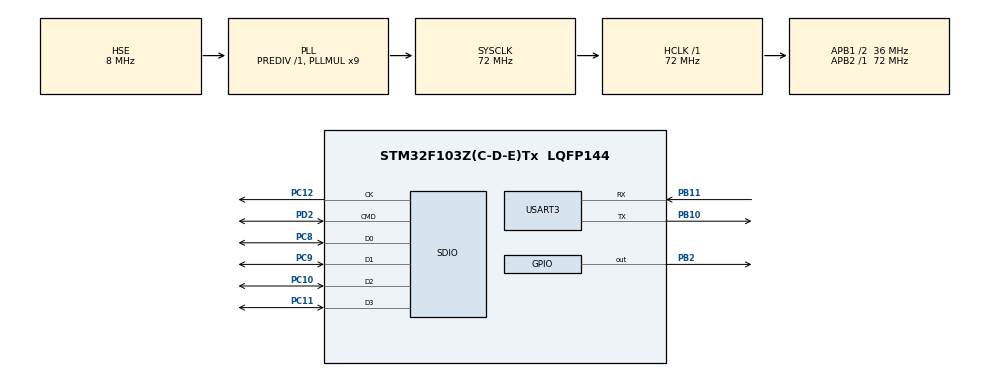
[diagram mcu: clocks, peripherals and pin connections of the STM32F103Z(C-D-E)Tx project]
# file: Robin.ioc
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Mcu.Family=STM32F1
Mcu.Name=STM32F103Z(C-D-E)Tx
Mcu.Package=LQFP144
NVIC.PriorityGroup=NVIC_PRIORITYGROUP_4
OSC_IN.Mode=HSE-External-Oscillator
OSC_IN.Signal=RCC_OSC_IN
OSC_OUT.Mode=HSE-External-Oscillator
OSC_OUT.Signal=RCC_OSC_OUT
PA13.Mode=Trace_Asynchronous_SW
PA13.Signal=SYS_JTMS-SWDIO
PA14.Mode=Trace_Asynchronous_SW
PA14.Signal=SYS_JTCK-SWCLK
PB10.Mode=Asynchronous
PB10.Signal=USART3_TX
PB11.Mode=Asynchronous
PB11.Signal=USART3_RX
PB2.GPIO_Speed=GPIO_SPEED_FREQ_HIGH
PB2.PinState=GPIO_PIN_SET
PB2.Signal=GPIO_Output
PB3.Mode=Trace_Asynchronous_SW
PB3.Signal=SYS_JTDO-TRACESWO
PC10.Mode=SD_4_bits_Wide_bus
PC10.Signal=SDIO_D2
PC11.Mode=SD_4_bits_Wide_bus
PC11.Signal=SDIO_D3
PC12.Mode=SD_4_bits_Wide_bus
PC12.Signal=SDIO_CK
PC8.Mode=SD_4_bits_Wide_bus
PC8.Signal=SDIO_D0
PC9.Mode=SD_4_bits_Wide_bus
PC9.Signal=SDIO_D1
PD2.Mode=SD_4_bits_Wide_bus
PD2.Signal=SDIO_CMD
ProjectManager.HeapSize=0x200
ProjectManager.StackSize=0x400
ProjectManager.TargetToolchain=Makefile
RCC.AHBFreq_Value=72000000
RCC.APB1CLKDivider=RCC_HCLK_DIV2
RCC.APB1Freq_Value=36000000
RCC.APB1TimFreq_Value=72000000
RCC.APB2Freq_Value=72000000
RCC.APB2TimFreq_Value=72000000
RCC.HCLKFreq_Value=72000000
RCC.PLLMUL=RCC_PLL_MUL9
RCC.PLLSourceVirtual=RCC_PLLSOURCE_HSE
RCC.SYSCLKFreq_VALUE=72000000
RCC.SYSCLKSource=RCC_SYSCLKSOURCE_PLLCLK
RCC.USBFreq_Value=48000000
RCC.USBPrescaler=RCC_USBCLKSOURCE_PLL_DIV1_5
SDIO.ClockDiv=2
USART3.VirtualMode=VM_ASYNC
VP_FATFS_VS_SDIO.Mode=SDIO
board=Robin

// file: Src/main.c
/**
  ******************************************************************************
  * @file           : main.c
  * @brief          : Main program body
  ******************************************************************************
  * This notice applies to any and all portions of this file
  * that are not between comment pairs USER CODE BEGIN and
  * USER CODE END. Other portions of this file, whether
  * inserted by the user or by software development tools
  * are owned by their respective copyright owners.
  *
  * Copyright (c) 2018 STMicroelectronics International N.V.
  * All rights reserved.
  *
  * Redistribution and use in source and binary forms, with or without
  * modification, are permitted, provided that the following conditions are met:
  *
  * 1. Redistribution of source code must retain the above copyright notice,
  *    this list of conditions and the following disclaimer.
  * 2. Redistributions in binary form must reproduce the above copyright notice,
  *    this list of conditions and the following disclaimer in the documentation
  *    and/or other materials provided with the distribution.
  * 3. Neither the name of STMicroelectronics nor the names of other
  *    contributors to this software may be used to endorse or promote products
  *    derived from this software without specific written permission.
  * 4. This software, including modifications and/or derivative works of this
  *    software, must execute solely and exclusively on microcontroller or
  *    microprocessor devices manufactured by or for STMicroelectronics.
  * 5. Redistribution and use of this software other than as permitted under
  *    this license is void and will automatically terminate your rights under
  *    this license.
  *
  * THIS SOFTWARE IS PROVIDED BY STMICROELECTRONICS AND CONTRIBUTORS "AS IS"
  * AND ANY EXPRESS, IMPLIED OR STATUTORY WARRANTIES, INCLUDING, BUT NOT
  * LIMITED TO, THE IMPLIED WARRANTIES OF MERCHANTABILITY, FITNESS FOR A
  * PARTICULAR PURPOSE AND NON-INFRINGEMENT OF THIRD PARTY INTELLECTUAL PROPERTY
  * RIGHTS ARE DISCLAIMED TO THE FULLEST EXTENT PERMITTED BY LAW. IN NO EVENT
  * SHALL STMICROELECTRONICS OR CONTRIBUTORS BE LIABLE FOR ANY DIRECT, INDIRECT,
  * INCIDENTAL, SPECIAL, EXEMPLARY, OR CONSEQUENTIAL DAMAGES (INCLUDING, BUT NOT
  * LIMITED TO, PROCUREMENT OF SUBSTITUTE GOODS OR SERVICES; LOSS OF USE, DATA,
  * OR PROFITS; OR BUSINESS INTERRUPTION) HOWEVER CAUSED AND ON ANY THEORY OF
  * LIABILITY, WHETHER IN CONTRACT, STRICT LIABILITY, OR TORT (INCLUDING
  * NEGLIGENCE OR OTHERWISE) ARISING IN ANY WAY OUT OF THE USE OF THIS SOFTWARE,
  * EVEN IF ADVISED OF THE POSSIBILITY OF SUCH DAMAGE.
  *
  ******************************************************************************
  */
#include "main.h"
#include "stm32f1xx_hal.h"
#include "fatfs.h"

/* USER CODE BEGIN Includes */
#include  <errno.h>
#include  <string.h>
#include  <sys/unistd.h> // STDOUT_FILENO, STDERR_FILENO
/* USER CODE END Includes */

SD_HandleTypeDef hsd;

UART_HandleTypeDef huart3;

/* USER CODE BEGIN PV */
/* Private variables ---------------------------------------------------------*/
#define BOOTLOADER_SIZE 0x7000
/* USER CODE END PV */

void SystemClock_Config(void);
static void MX_GPIO_Init(void);
static void MX_USART3_UART_Init(void);
static void MX_SDIO_SD_Init(void);

/* USER CODE BEGIN PFP */
/* Private function prototypes -----------------------------------------------*/

/* USER CODE END PFP */

/* USER CODE BEGIN 0 */
int _write(int file, char *data, int length) {
   if ((file != STDOUT_FILENO) && (file != STDERR_FILENO)) {
      errno = EBADF;
      return -1;
   }
   return HAL_UART_Transmit(&huart3, (uint8_t*)data, length, 1000) == HAL_OK ? length : 0;
}
/* USER CODE END 0 */

int main(void)
{

  /* MCU Configuration----------------------------------------------------------*/

  /* Reset of all peripherals, Initializes the Flash interface and the Systick. */
  HAL_Init();

  /* Configure the system clock */
  SystemClock_Config();

  /* Initialize all configured peripherals */
  MX_GPIO_Init();
  MX_USART3_UART_Init();
  MX_SDIO_SD_Init();
  MX_FATFS_Init();
  /* USER CODE BEGIN 2 */

  printf("\nSTM32F103ZET6\n");

  FRESULT result;
  DIR Directory;
  FILINFO FileInfo;

  if(f_mount(&SDFatFS, (TCHAR const*) SDPath, 0) != FR_OK) {
	  printf("Failed to mount SD Card\n");
  } else {
	  if ((result = f_opendir(&Directory, "/")) != FR_OK) {
		  printf("Failed to open root directory: %d\n", result);
	  } else {
		  if (f_stat("BOOTLOAD.BIN", &FileInfo) == FR_OK) {
			  printf("Bootload.bin already exists (%ld)\n", FileInfo.fsize);
		  } else {
			  if (f_open(&SDFile, "BOOTLOAD.BIN", FA_CREATE_ALWAYS | FA_WRITE) == FR_OK) {

				  unsigned int length;
				  uint8_t buffer[FLASH_PAGE_SIZE];
				  uint32_t address;

				  for (address = 0; address < BOOTLOADER_SIZE; address += FLASH_PAGE_SIZE) {
					  memcpy((void *) buffer, (void *) (FLASH_BASE + address), 2048);
				  	  if ((result = f_write(&SDFile, (void *) buffer, FLASH_PAGE_SIZE, &length)) != FR_OK) {
					  	  printf("Failed to write data to Bootload.bin: %d\n", result);
					  	  break;
				  	  }
				  }
				  f_close(&SDFile);
				  if (f_stat("BOOTLOAD.BIN", &FileInfo) == FR_OK) {
					  printf("Bootload.bin created (%ld)\n", FileInfo.fsize);
				  }
			  } else {
				  printf("Failed to create Bootload.bin\n");
			  }
		  }
	  }
  }
  /* USER CODE END 2 */

  /* Infinite loop */
  while (1)
  {

  /* USER CODE BEGIN 3 */
	  HAL_Delay(500);
	  HAL_GPIO_TogglePin(GPIOB, GPIO_PIN_2);
  }
  /* USER CODE END 3 */

}

void SystemClock_Config(void)
{

  RCC_OscInitTypeDef RCC_OscInitStruct;
  RCC_ClkInitTypeDef RCC_ClkInitStruct;

    /**Initializes the CPU, AHB and APB busses clocks
    */
  RCC_OscInitStruct.OscillatorType = RCC_OSCILLATORTYPE_HSE;
  RCC_OscInitStruct.HSEState = RCC_HSE_ON;
  RCC_OscInitStruct.HSEPredivValue = RCC_HSE_PREDIV_DIV1;
  RCC_OscInitStruct.HSIState = RCC_HSI_ON;
  RCC_OscInitStruct.PLL.PLLState = RCC_PLL_ON;
  RCC_OscInitStruct.PLL.PLLSource = RCC_PLLSOURCE_HSE;
  RCC_OscInitStruct.PLL.PLLMUL = RCC_PLL_MUL9;
  if (HAL_RCC_OscConfig(&RCC_OscInitStruct) != HAL_OK)
  {
    _Error_Handler(__FILE__, __LINE__);
  }

    /**Initializes the CPU, AHB and APB busses clocks
    */
  RCC_ClkInitStruct.ClockType = RCC_CLOCKTYPE_HCLK|RCC_CLOCKTYPE_SYSCLK
                              |RCC_CLOCKTYPE_PCLK1|RCC_CLOCKTYPE_PCLK2;
  RCC_ClkInitStruct.SYSCLKSource = RCC_SYSCLKSOURCE_PLLCLK;
  RCC_ClkInitStruct.AHBCLKDivider = RCC_SYSCLK_DIV1;
  RCC_ClkInitStruct.APB1CLKDivider = RCC_HCLK_DIV2;
  RCC_ClkInitStruct.APB2CLKDivider = RCC_HCLK_DIV1;

  if (HAL_RCC_ClockConfig(&RCC_ClkInitStruct, FLASH_LATENCY_2) != HAL_OK)
  {
    _Error_Handler(__FILE__, __LINE__);
  }

    /**Configure the Systick interrupt time
    */
  HAL_SYSTICK_Config(HAL_RCC_GetHCLKFreq()/1000);

    /**Configure the Systick
    */
  HAL_SYSTICK_CLKSourceConfig(SYSTICK_CLKSOURCE_HCLK);

  /* SysTick_IRQn interrupt configuration */
  HAL_NVIC_SetPriority(SysTick_IRQn, 0, 0);
}

/* SDIO init function */
static void MX_SDIO_SD_Init(void)
{

  hsd.Instance = SDIO;
  hsd.Init.ClockEdge = SDIO_CLOCK_EDGE_RISING;
  hsd.Init.ClockBypass = SDIO_CLOCK_BYPASS_DISABLE;
  hsd.Init.ClockPowerSave = SDIO_CLOCK_POWER_SAVE_DISABLE;
  hsd.Init.BusWide = SDIO_BUS_WIDE_1B;
  hsd.Init.HardwareFlowControl = SDIO_HARDWARE_FLOW_CONTROL_DISABLE;
  hsd.Init.ClockDiv = 2;

}

/* USART3 init function */
static void MX_USART3_UART_Init(void)
{

  huart3.Instance = USART3;
  huart3.Init.BaudRate = 115200;
  huart3.Init.WordLength = UART_WORDLENGTH_8B;
  huart3.Init.StopBits = UART_STOPBITS_1;
  huart3.Init.Parity = UART_PARITY_NONE;
  huart3.Init.Mode = UART_MODE_TX_RX;
  huart3.Init.HwFlowCtl = UART_HWCONTROL_NONE;
  huart3.Init.OverSampling = UART_OVERSAMPLING_16;
  if (HAL_UART_Init(&huart3) != HAL_OK)
  {
    _Error_Handler(__FILE__, __LINE__);
  }

}

/** Configure pins as
        * Analog
        * Input
        * Output
        * EVENT_OUT
        * EXTI
*/
static void MX_GPIO_Init(void)
{

  GPIO_InitTypeDef GPIO_InitStruct;

  /* GPIO Ports Clock Enable */
  __HAL_RCC_GPIOB_CLK_ENABLE();
  __HAL_RCC_GPIOC_CLK_ENABLE();
  __HAL_RCC_GPIOA_CLK_ENABLE();
  __HAL_RCC_GPIOD_CLK_ENABLE();

  /*Configure GPIO pin Output Level */
  HAL_GPIO_WritePin(GPIOB, GPIO_PIN_2, GPIO_PIN_SET);

  /*Configure GPIO pin : PB2 */
  GPIO_InitStruct.Pin = GPIO_PIN_2;
  GPIO_InitStruct.Mode = GPIO_MODE_OUTPUT_PP;
  GPIO_InitStruct.Speed = GPIO_SPEED_FREQ_HIGH;
  HAL_GPIO_Init(GPIOB, &GPIO_InitStruct);

}

void _Error_Handler(char *file, int line)
{
  while(1)
  {
  }
}

/************************ (C) COPYRIGHT STMicroelectronics *****END OF FILE****/
